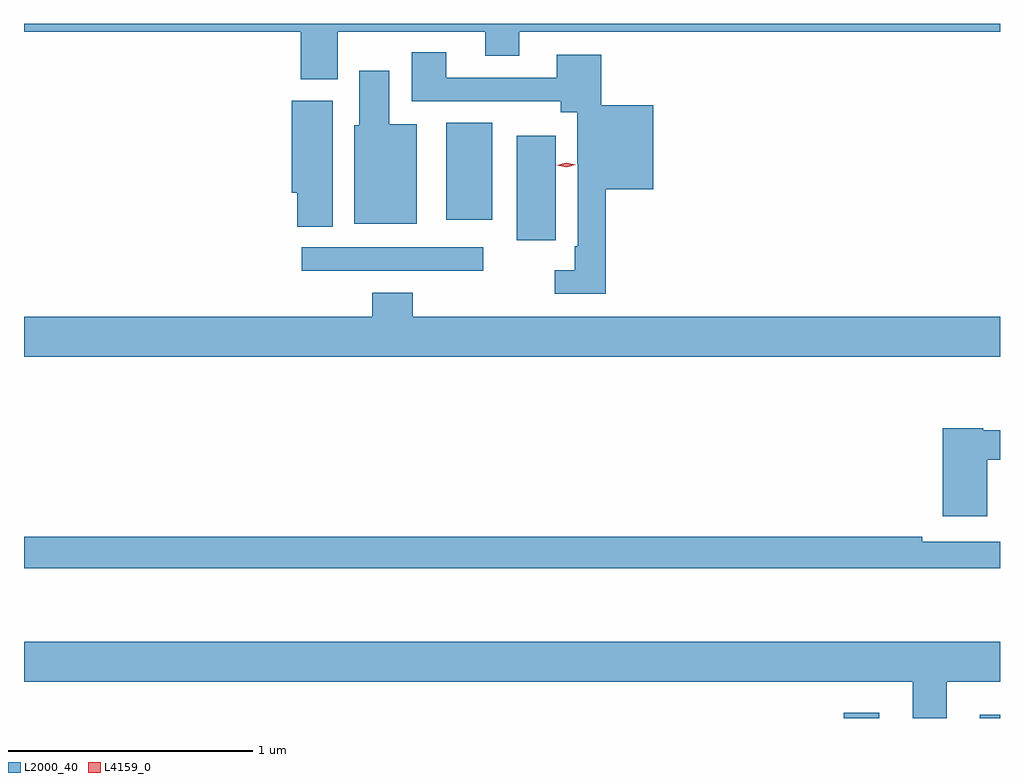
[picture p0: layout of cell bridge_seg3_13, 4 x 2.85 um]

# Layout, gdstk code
import gdstk
lib = gdstk.Library(unit=1e-6, precision=1e-09)
def R(c, l, rs):  # rectangles x0, y0, x1, y1
    for r in rs: c.add(gdstk.rectangle(r[:2], r[2:], *l))
def P(c, l, *ps):  # polygons
    for p in ps: c.add(gdstk.Polygon(p, *l))
L2000_40 = (2000, 40)
L4159_0 = (4159, 0)

bridge_seg3_13 = lib.new_cell('bridge_seg3_13')
R(bridge_seg3_13, L2000_40, [(749.674,746.055,749.821,746.077), (750.233,746.055,750.315,746.068), (747.453,747.888,748.198,747.984), (748.334,748.014,748.495,748.441), (748.046,748.097,748.234,748.495)])
P(bridge_seg3_13, L2000_40, [(747.601,748.868),(748.205,748.868),(748.205,748.769),(748.345,748.769),(748.345,748.868),(750.315,748.868),(750.315,748.9),(746.315,748.9),(746.315,748.868),(747.449,748.868),(747.449,748.674),(747.601,748.674)],
  [(748.7,748.223),(748.894,748.223),(748.894,748.567),(748.681,748.567),(748.681,748.774),(748.499,748.774),(748.499,748.68),(748.045,748.68),(748.045,748.783),(747.905,748.783),(747.905,748.584),(748.514,748.584),(748.514,748.538),(748.583,748.538),(748.583,748.327),(748.584,748.327),(748.584,747.988),(748.572,747.988),(748.572,747.891),(748.491,747.891),(748.491,747.795),(748.7,747.795)],
  [(747.925,748.489),(747.811,748.489),(747.811,748.708),(747.689,748.708),(747.689,748.485),(747.668,748.485),(747.668,748.082),(747.925,748.082)],
  [(747.58,748.585),(747.413,748.585),(747.413,748.209),(747.434,748.209),(747.434,748.069),(747.58,748.069)],
  [(747.743,747.799),(747.743,747.7),(746.315,747.7),(746.315,747.536),(750.315,747.536),(750.315,747.7),(747.908,747.7),(747.908,747.799)],
  [(750.263,747.114),(750.315,747.114),(750.315,747.235),(750.246,747.235),(750.246,747.243),(750.08,747.243),(750.08,746.883),(750.263,746.883)],
  [(750.315,746.778),(749.996,746.778),(749.996,746.798),(746.315,746.798),(746.315,746.67),(750.315,746.67)],
  [(750.097,746.204),(750.315,746.204),(750.315,746.368),(746.315,746.368),(746.315,746.204),(749.957,746.204),(749.957,746.055),(750.097,746.055)])
P(bridge_seg3_13, L4159_0, [(748.538,748.312),(748.499,748.321),(748.498,748.321),(748.499,748.321),(748.538,748.332),(748.577,748.323),(748.577,748.322),(748.577,748.322)])

lib.write_gds('bridge_seg3_13.gds')
